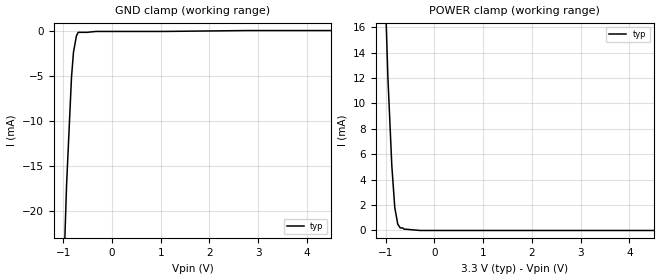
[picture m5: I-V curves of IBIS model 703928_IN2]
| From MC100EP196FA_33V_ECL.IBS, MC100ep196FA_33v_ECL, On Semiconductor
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| (C) COPYRIGHT 1993-2001
| MENTOR GRAPHICS CORPORATION
| ICX STANDARD LIBRARY, ICX PROJECT MODELING,
| ICX CUSTOM MODELING, ICX VENDOR MODEL
| ALL RIGHTS RESERVED.
| THE FOLLOWING ARE TRADEMARKS OR SERVICE MARKS OF
| MENTOR GRAPHICS CORPORATION:ICX (R), ICX STANDARD
| LIBRARY(R), ICX PROJECT MODELING(R), ICX CUSTOM
| MODELING(R), qualityIBIS(TM), MODELVIEWER(TM),
| AND MODELEDITOR(TM)
| ALL COPIES OF SOFTWARE, INCLUDING BUT NOT LIMITED TO
| ANY MODIFICATIONS, ENHANCEMENTS OR DERIVATIVE WORKS,
| MUST CONTAIN ALL MENTOR GRAPHICS CORPORATION'S
| NOTICES AND LEGENDS, INCLUDING THOSE EMBEDDED IN
| SOFTWARE AND THOSE AFFIXED TO SOFTWARE MEDIUM
| AND CONTAINER, AS RECEIVED FROM MENTOR GRAPHICS
| CORPORATION.
| Model Application Version 1.89 2/18/99.
[Model] 703928_IN2
Model_type Input_ECL
Vinl = 1.755V
Vinh = 2.155V
C_comp 4.000pF NA NA
| variable typ   min   max
[Voltage Range] 3.300V NA NA
[GND Clamp Reference] 0.000V NA NA
[POWER Clamp Reference] 3.300V NA NA
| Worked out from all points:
|   GND clamp passes 1 mA (typ) near -0.75 V on its own axis
|   POWER clamp passes 1 mA (typ) near -0.78 V on its own axis
[GND Clamp]
-3.3V     -524.3mA   NA         NA
-1.054V   -37.7mA    NA         NA
-932mV    -17.1mA    NA         NA
-831mV    -5.1mA     NA         NA
-790mV    -2.3mA     NA         NA
-730mV    -500uA     NA         NA
-694.3mV  -100uA     NA         NA
-511.8mV  -100uA     NA         NA
-329.3mV  0A         NA         NA
1.074V    0A         NA         NA
2.777V    100uA      NA         NA
6.6V      100uA      NA         NA
[POWER Clamp]
-3.3V     379.9mA    NA         NA
-1.18V    39.7mA     NA         NA
-957mV    12.1mA     NA         NA
-876mV    5.1mA      NA         NA
-815mV    1.8mA      NA         NA
-754mV    500uA      NA         NA
-703mV    200uA      NA         NA
-652mV    200uA      NA         NA
-622mV    100uA      NA         NA
-296mV    0A         NA         NA
6.6V      0A         NA         NA
